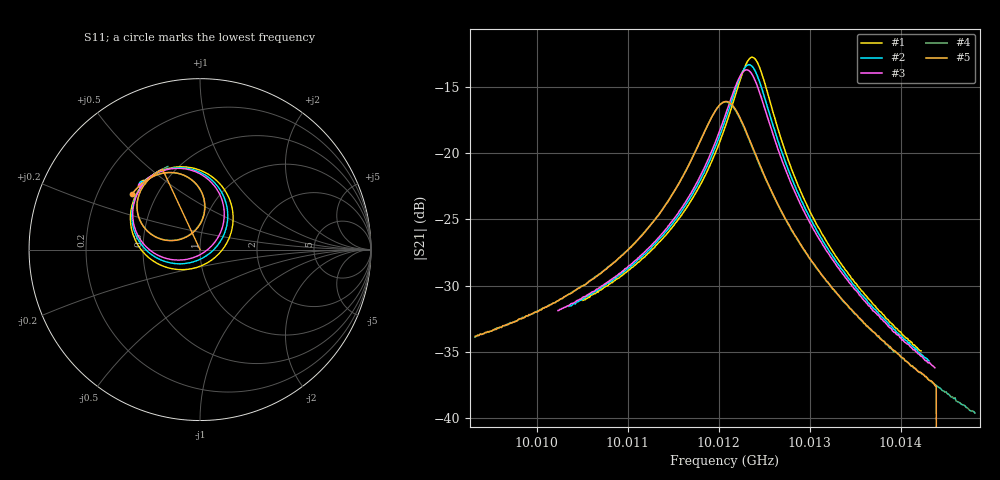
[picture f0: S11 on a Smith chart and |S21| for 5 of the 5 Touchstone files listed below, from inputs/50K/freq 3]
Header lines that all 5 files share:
#  HZ  S  RI  R  50.00
! Rohde & Schwarz Vector Network Analyzer
! Rohde-Schwarz,ZNB20-2Port,1311601062101988,3.16
! freq[Hz]  re:S11  im:S11  re:S21  im:S21  re:S12  im:S12  re:S22  im:S22
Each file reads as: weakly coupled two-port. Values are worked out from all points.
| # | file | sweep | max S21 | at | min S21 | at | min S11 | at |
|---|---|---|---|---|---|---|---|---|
| 1 | 32_3_48.0989_50.1253891_17892.662_.s2p | 10.01051 GHz to 10.01423 GHz | -12.79 dB | 10.01237 GHz | -34.9 dB | 10.01423 GHz | -21.0 dB | 10.01238 GHz |
| 2 | 43_3_48.0994_50.1168861_25259.795_.s2p | 10.01035 GHz to 10.01431 GHz | -13.35 dB | 10.01233 GHz | -35.7 dB | 10.01431 GHz | -25.7 dB | 10.01234 GHz |
| 3 | 53_3_48.0987_50.1072807_31265.721_.s2p | 10.01023 GHz to 10.01438 GHz | -13.74 dB | 10.01231 GHz | -36.2 dB | 10.01438 GHz | -30.9 dB | 10.01233 GHz |
| 4 | 153_3_48.102_50.01931_89212.594_.s2p | 10.00932 GHz to 10.01482 GHz | -16.17 dB | 10.01208 GHz | -39.6 dB | 10.01482 GHz | -19.5 dB | 10.0121 GHz |
| 5 | 155_3_48.0979_50.0198402_88056.141_.s2p | 10.00932 GHz to 10.01482 GHz | -16.13 dB | 10.01208 GHz | -37.6 dB | 10.01439 GHz | -19.7 dB | 10.0121 GHz |
